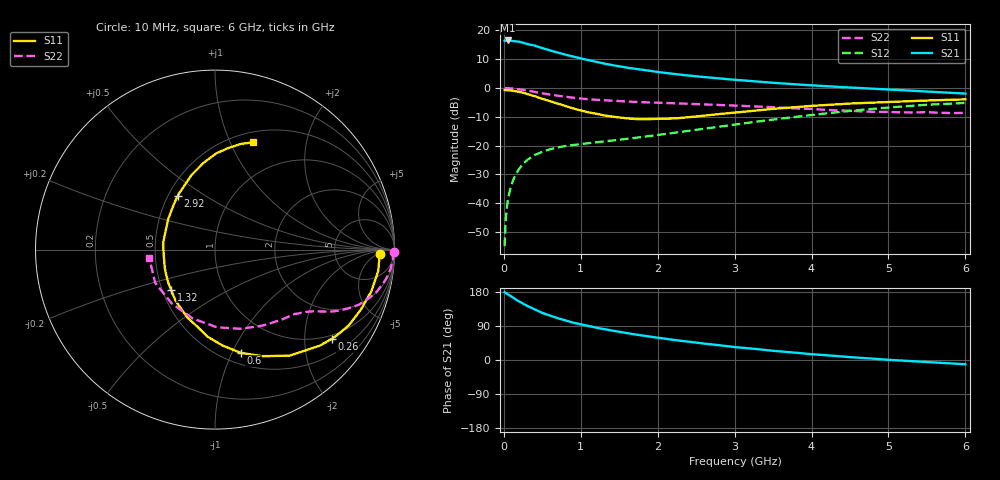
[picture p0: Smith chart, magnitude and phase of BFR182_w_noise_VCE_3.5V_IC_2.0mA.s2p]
! Infineon Technologies  Discrete & RF Semiconductors
! BFR182
! VCE =  3.5 V,  IC =  2.0 mA
! Common Emitter S-Parameters:  Nov 2015
# GHz  S  MA  R  50
!  f  S11  S21  S12  S22
! GHz  MAG  ANG  MAG  ANG  MAG  ANG  MAG  ANG
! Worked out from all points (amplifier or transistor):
!   210 points, 10 MHz to 6 GHz, reference 50 ohm
!   highest |S21| = 16.5 dB at 50 MHz (marker M1)
!   |S21| within 3 dB of that: start of sweep to 542.1 MHz
!   unconditionally stable (mu >= 1): 1.483 GHz to 3.111 GHz
!   at 185 MHz: K = 0.18, MSG = 22.4 dB, |S12| = -28.6 dB
!   at 1.52 GHz: K = 1.01, MAG = 12.0 dB, |S12| = -17.9 dB
!   at 6 GHz: K = 0.90, MSG = 1.6 dB, |S12| = -5.2 dB
!   lowest NFmin = 1.10 dB at 450 MHz
!   S11 on the Smith chart (normalised r, x): 10 MHz: 21, -7; 260 MHz: 0.89, -2.68; 600 MHz: 0.61, -1.08; 1.32 GHz: 0.56, -0.28; 2.92 GHz: 0.56, +0.39; 6 GHz: 0.61, +1.22
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0.01  0.9187 -1.7  6.623 178.9  0.0018 90.4  0.9962 -0.7
0.025  0.9168 -3.5  6.543 176.7  0.0052 87.4  0.9905 -1.6
0.05  0.9173 -7.5  6.668 173.6  0.0108 85.2  0.9924 -3.2
0.1  0.9013 -15.0  6.596 167.4  0.0209 82.1  0.9832 -6.5
0.15  0.8791 -22.3  6.439 160.2  0.0309 76.7  0.9689 -9.5
0.2  0.8567 -29.5  6.349 154.3  0.0397 73.5  0.9483 -12.3
0.26  0.8186 -37.5  6.02 147.5  0.0496 68.9  0.9232 -15.4
0.3  0.7915 -42.6  5.82 143.1  0.0556 67.0  0.9045 -17.1
0.4  0.722 -55.0  5.435 133.5  0.0687 61.0  0.8565 -21.1
0.5  0.6488 -66.2  4.913 124.2  0.078 56.9  0.8067 -24.1
0.6  0.5923 -76.1  4.476 117.1  0.0864 53.6  0.768 -26.3
0.8  0.4873 -94.8  3.779 104.1  0.0985 49.6  0.7036 -29.4
1.02  0.4015 -113.7  3.207 93.0  0.1068 48.6  0.6507 -31.8
1.32  0.331 -137.6  2.622 80.9  0.1189 48.7  0.6101 -34.8
1.7  0.2896 -169.0  2.159 67.6  0.1354 51.8  0.5729 -38.6
2.02  0.2908 169.5  1.878 58.3  0.154 53.7  0.5539 -42.5
2.4  0.3115 146.8  1.64 48.0  0.1797 55.8  0.5311 -48.2
2.92  0.3644 124.5  1.416 36.1  0.2236 56.0  0.4993 -57.8
3.1  0.3834 118.8  1.353 32.4  0.241 55.4  0.4864 -61.8
4.1  0.4972 95.6  1.09 13.9  0.3509 48.4  0.4236 -92.1
5.1  0.5775 81.2  0.926 -0.6  0.4681 35.7  0.3795 -133.1
6  0.6344 70.4  0.799 -11.2  0.5506 21.4  0.3691 -172.9
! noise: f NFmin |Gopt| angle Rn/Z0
0.45  1.1  0.42  29  0.36
0.9  1.2  0.4  58  0.3
1.8  1.85  0.32  126  0.22
